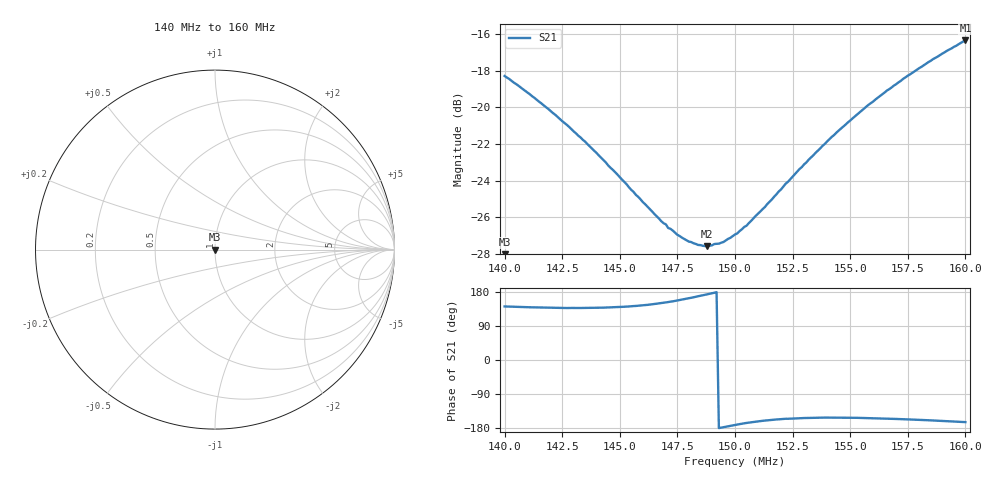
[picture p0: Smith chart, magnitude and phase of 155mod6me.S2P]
!Agilent Technologies,E5072A,MY51200456,A.01.14
!Date: Tue Nov 19 12:32:01 2019
!Data & Calibration Information:
!Freq	S11:NONE(--)	S21:NONE(--)	S12:NONE(--)	S22:NONE(--)
!PortZ  Port1:50+j0  Port2:50+j0
!Above PortZ is port z conversion or system Z0 setting when saving the data.
!When reading, reference impedance value at option line is always used.
# Hz S RI R 50
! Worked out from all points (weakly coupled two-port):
!   201 points, 140 MHz to 160 MHz, reference 50 ohm
!   highest |S21| = -16.35 dB at 160 MHz (marker M1); lowest = -27.6 dB at 148.8 MHz (marker M2)
!   lowest |S11| = - dB at 140 MHz (marker M3), VSWR 1.00, Z = 50 + j0 ohm
!   |S11| at or under -10 dB: start of sweep to end of sweep
!   S12 and S22 are empty: the file has one direction only
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1.4e8  0 0  -0.0951 0.0761  0 0  0 0
1.419e8  0 0  -0.0735 0.0663  0 0  0 0
1.434e8  0 0  -0.0599 0.0552  0 0  0 0
1.443e8  0 0  -0.0535 0.0478  0 0  0 0
1.467e8  0 0  -0.0428 0.0253  0 0  0 0
1.47e8  0 0  -0.0423 0.0225  0 0  0 0
1.471e8  0 0  -0.0417 0.0214  0 0  0 0
1.479e8  0 0  -0.0411 0.0135  0 0  0 0
1.484e8  0 0  -0.0412 0.00854  0 0  0 0
1.488e8  0 0  -0.0415 0.00466  0 0  0 0
1.495e8  0 0  -0.0428 -0.002  0 0  0 0
1.5e8  0 0  -0.0445 -0.0068  0 0  0 0
1.505e8  0 0  -0.0461 -0.0114  0 0  0 0
1.513e8  0 0  -0.0502 -0.0184  0 0  0 0
1.528e8  0 0  -0.0607 -0.0303  0 0  0 0
1.534e8  0 0  -0.0656 -0.0342  0 0  0 0
1.542e8  0 0  -0.0733 -0.0391  0 0  0 0
1.549e8  0 0  -0.0805 -0.0423  0 0  0 0
1.558e8  0 0  -0.0908 -0.0457  0 0  0 0
1.567e8  0 0  -0.1015 -0.0477  0 0  0 0
1.586e8  0 0  -0.127 -0.0471  0 0  0 0
1.6e8  0 0  -0.1463 -0.0422  0 0  0 0
